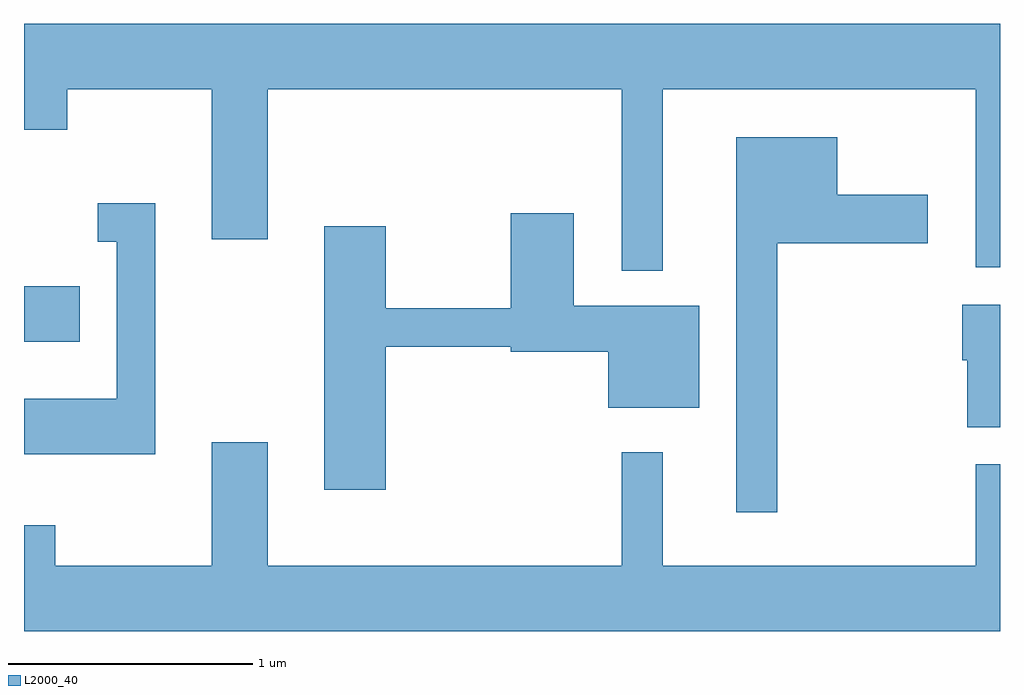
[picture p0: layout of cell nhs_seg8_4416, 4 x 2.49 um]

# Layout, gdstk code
import gdstk
lib = gdstk.Library(unit=1e-6, precision=1e-09)
def R(c, l, rs):  # rectangles x0, y0, x1, y1
    for r in rs: c.add(gdstk.rectangle(r[:2], r[2:], *l))
def P(c, l, *ps):  # polygons
    for p in ps: c.add(gdstk.Polygon(p, *l))
L2000_40 = (2000, 40)

nhs_seg8_4416 = lib.new_cell('nhs_seg8_4416')
R(nhs_seg8_4416, L2000_40, [(317.611,1864.241,317.839,1864.469)])
P(nhs_seg8_4416, L2000_40, [(320.229,1865.276),(321.511,1865.276),(321.511,1864.546),(321.611,1864.546),(321.611,1865.544),(317.611,1865.544),(317.611,1865.111),(317.789,1865.111),(317.789,1865.276),(318.381,1865.276),(318.381,1864.661),(318.609,1864.661),(318.609,1865.276),(320.061,1865.276),(320.061,1864.533),(320.229,1864.533)],
  [(320.699,1864.646),(321.314,1864.646),(321.314,1864.844),(320.944,1864.844),(320.944,1865.079),(320.531,1865.079),(320.531,1863.543),(320.699,1863.543)],
  [(318.149,1864.809),(317.913,1864.809),(317.913,1864.651),(317.991,1864.651),(317.991,1864.009),(317.611,1864.009),(317.611,1863.781),(318.149,1863.781)],
  [(319.094,1864.221),(319.606,1864.221),(319.606,1864.201),(320.006,1864.201),(320.006,1863.971),(320.379,1863.971),(320.379,1864.389),(319.864,1864.389),(319.864,1864.769),(319.606,1864.769),(319.606,1864.379),(319.094,1864.379),(319.094,1864.714),(318.841,1864.714),(318.841,1863.636),(319.094,1863.636)],
  [(321.611,1864.394),(321.456,1864.394),(321.456,1864.166),(321.476,1864.166),(321.476,1863.891),(321.611,1863.891)],
  [(321.611,1863.739),(321.511,1863.739),(321.511,1863.324),(320.229,1863.324),(320.229,1863.788),(320.061,1863.788),(320.061,1863.324),(318.609,1863.324),(318.609,1863.829),(318.381,1863.829),(318.381,1863.324),(317.739,1863.324),(317.739,1863.489),(317.611,1863.489),(317.611,1863.056),(321.611,1863.056)])

lib.write_gds('nhs_seg8_4416.gds')
